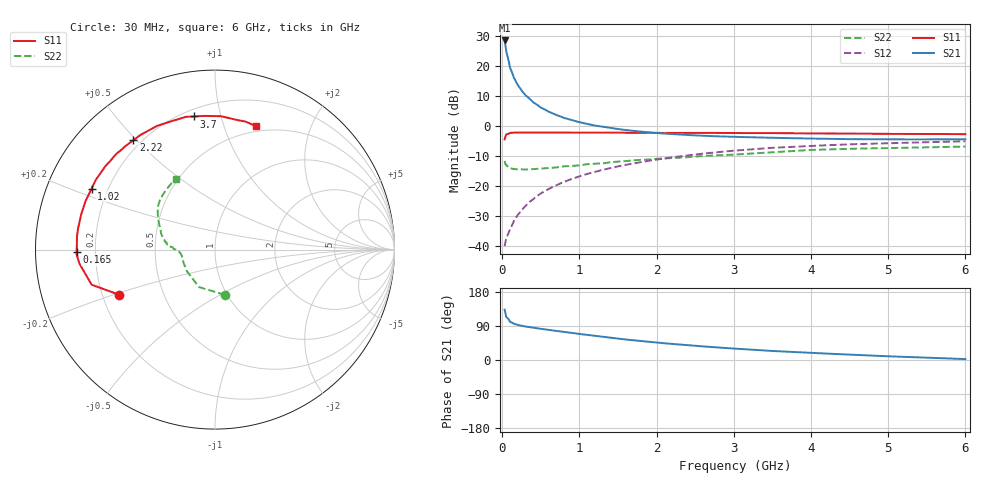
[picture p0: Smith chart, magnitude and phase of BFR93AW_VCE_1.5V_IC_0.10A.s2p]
! Infineon Technologies  Discrete & RF Semiconductors
! BFR93AW
! VCE =  1.5 V,  IC = 0.10 A
! Common Emitter S-Parameters:  Nov 2015
# GHz  S  MA  R  50
!  f  S11  S21  S12  S22
! GHz  MAG  ANG  MAG  ANG  MAG  ANG  MAG  ANG
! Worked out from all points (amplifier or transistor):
!   206 points, 30 MHz to 6 GHz, reference 50 ohm
!   highest |S21| = 28.4 dB at 30 MHz (marker M1)
!   |S21| within 3 dB of that: start of sweep to 46.76 MHz
!   unconditionally stable (mu >= 1): start of sweep to end of sweep
!   at 200 MHz: K = 1.45, MAG = 17.7 dB, |S12| = -29.7 dB
!   at 1.56 GHz: K = 1.31, MAG = 2.6 dB, |S12| = -13.2 dB
!   at 6 GHz: K = 1.07, MAG = -1.3 dB, |S12| = -5.2 dB
!   S11 on the Smith chart (normalised r, x): 30 MHz: 0.27, -0.21; 165 MHz: 0.13, -0.01; 1.02 GHz: 0.14, +0.23; 2.22 GHz: 0.17, +0.49; 3.7 GHz: 0.24, +0.82; 6 GHz: 0.45, +1.29
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0.03  0.5924 -155.0  26.33 132.8  0.0099 56.2  0.2584 -77.5
0.05  0.7146 -164.1  17.37 113.5  0.0131 53.7  0.2269 -113.1
0.1  0.7591 -174.0  9.297 100.6  0.0188 60.9  0.1975 -142.9
0.15  0.7719 -178.1  6.297 95.7  0.0259 66.4  0.1907 -154.7
0.165  0.7712 -179.0  5.841 94.9  0.0279 67.4  0.1898 -156.6
0.2  0.7702 179.0  4.782 92.4  0.0327 69.3  0.1884 -161.0
0.26  0.7709 176.0  3.723 89.9  0.0405 71.8  0.188 -165.7
0.3  0.7724 174.6  3.233 88.3  0.0463 72.9  0.1875 -167.6
0.4  0.7719 171.2  2.466 85.1  0.0601 73.9  0.1895 -171.7
0.5  0.77 168.0  2.014 82.2  0.0748 74.2  0.1944 -174.4
0.6  0.7712 165.4  1.719 79.5  0.0884 73.7  0.1978 -175.7
0.8  0.7704 159.6  1.354 74.1  0.1163 72.2  0.2113 -178.5
1.02  0.7671 153.7  1.132 68.2  0.1467 69.9  0.2214 179.7
1.04  0.7672 153.3  1.117 67.8  0.1495 69.6  0.2235 179.5
1.44  0.7669 143.8  0.902 57.8  0.2028 64.9  0.2494 176.1
2.02  0.7626 130.8  0.754 45.6  0.2759 57.5  0.2826 170.8
2.22  0.7603 126.7  0.726 42.1  0.3011 54.7  0.2905 167.9
3.1  0.7556 109.3  0.65 29.0  0.3932 42.7  0.337 156.6
3.7  0.7513 99.1  0.623 21.8  0.4426 34.8  0.3754 148.0
4.1  0.7455 92.9  0.61 17.7  0.4688 29.7  0.3995 142.4
5.1  0.7324 80.6  0.595 9.1  0.5166 18.8  0.4278 130.2
6  0.7246 71.5  0.595 2.4  0.5527 10.5  0.4511 119.1
